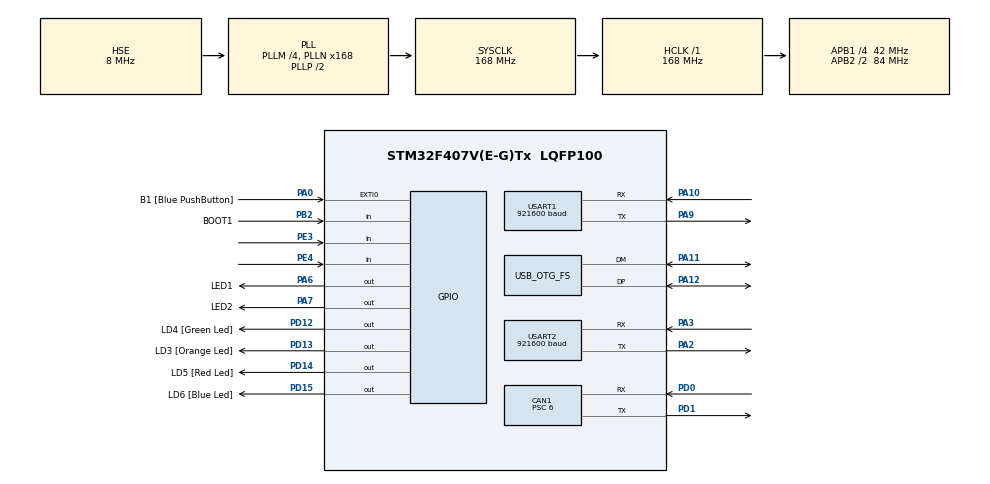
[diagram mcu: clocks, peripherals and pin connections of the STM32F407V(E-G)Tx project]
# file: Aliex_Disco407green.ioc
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CAN1.BS1=CAN_BS1_11TQ
CAN1.BS2=CAN_BS2_2TQ
CAN1.CalculateBaudRate=500000
CAN1.CalculateTimeBit=2000
CAN1.CalculateTimeQuantum=142.85714285714286
CAN1.Prescaler=6
Dma.Request0=USART1_RX
Dma.Request1=USART1_TX
Dma.Request2=USART2_TX
Dma.Request3=USART2_RX
Dma.USART1_RX.0.Direction=DMA_PERIPH_TO_MEMORY
Dma.USART1_RX.0.FIFOMode=DMA_FIFOMODE_DISABLE
Dma.USART1_RX.0.Instance=DMA2_Stream2
Dma.USART1_RX.0.MemDataAlignment=DMA_MDATAALIGN_BYTE
Dma.USART1_RX.0.MemInc=DMA_MINC_ENABLE
Dma.USART1_RX.0.Mode=DMA_NORMAL
Dma.USART1_RX.0.PeriphDataAlignment=DMA_PDATAALIGN_BYTE
Dma.USART1_RX.0.PeriphInc=DMA_PINC_DISABLE
Dma.USART1_RX.0.Priority=DMA_PRIORITY_LOW
Dma.USART1_TX.1.Direction=DMA_MEMORY_TO_PERIPH
Dma.USART1_TX.1.FIFOMode=DMA_FIFOMODE_DISABLE
Dma.USART1_TX.1.Instance=DMA2_Stream7
Dma.USART1_TX.1.MemDataAlignment=DMA_MDATAALIGN_BYTE
Dma.USART1_TX.1.MemInc=DMA_MINC_ENABLE
Dma.USART1_TX.1.Mode=DMA_NORMAL
Dma.USART1_TX.1.PeriphDataAlignment=DMA_PDATAALIGN_BYTE
Dma.USART1_TX.1.PeriphInc=DMA_PINC_DISABLE
Dma.USART1_TX.1.Priority=DMA_PRIORITY_LOW
Dma.USART2_RX.3.Direction=DMA_PERIPH_TO_MEMORY
Dma.USART2_RX.3.FIFOMode=DMA_FIFOMODE_DISABLE
Dma.USART2_RX.3.Instance=DMA1_Stream5
Dma.USART2_RX.3.MemDataAlignment=DMA_MDATAALIGN_BYTE
Dma.USART2_RX.3.MemInc=DMA_MINC_ENABLE
Dma.USART2_RX.3.Mode=DMA_NORMAL
Dma.USART2_RX.3.PeriphDataAlignment=DMA_PDATAALIGN_BYTE
Dma.USART2_RX.3.PeriphInc=DMA_PINC_DISABLE
Dma.USART2_RX.3.Priority=DMA_PRIORITY_LOW
Dma.USART2_TX.2.Direction=DMA_MEMORY_TO_PERIPH
Dma.USART2_TX.2.FIFOMode=DMA_FIFOMODE_DISABLE
Dma.USART2_TX.2.Instance=DMA1_Stream6
Dma.USART2_TX.2.MemDataAlignment=DMA_MDATAALIGN_BYTE
Dma.USART2_TX.2.MemInc=DMA_MINC_ENABLE
Dma.USART2_TX.2.Mode=DMA_NORMAL
Dma.USART2_TX.2.PeriphDataAlignment=DMA_PDATAALIGN_BYTE
Dma.USART2_TX.2.PeriphInc=DMA_PINC_DISABLE
Dma.USART2_TX.2.Priority=DMA_PRIORITY_LOW
Mcu.Family=STM32F4
Mcu.Name=STM32F407V(E-G)Tx
Mcu.Package=LQFP100
NVIC.CAN1_RX0_IRQn=true\:0\:0\:false\:false\:true\:true\:true\:true
NVIC.CAN1_RX1_IRQn=true\:0\:0\:false\:false\:true\:true\:true\:true
NVIC.CAN1_SCE_IRQn=true\:0\:0\:false\:false\:true\:true\:true\:true
NVIC.CAN1_TX_IRQn=true\:0\:0\:false\:false\:true\:true\:true\:true
NVIC.DMA1_Stream5_IRQn=true\:0\:0\:false\:false\:true\:false\:true\:true
NVIC.DMA1_Stream6_IRQn=true\:0\:0\:false\:false\:true\:false\:true\:true
NVIC.DMA2_Stream2_IRQn=true\:0\:0\:false\:false\:true\:false\:true\:true
NVIC.DMA2_Stream7_IRQn=true\:0\:0\:false\:false\:true\:false\:true\:true
NVIC.OTG_FS_IRQn=true\:0\:0\:false\:false\:true\:false\:true\:true
NVIC.PriorityGroup=NVIC_PRIORITYGROUP_0
NVIC.TIM4_IRQn=true\:0\:0\:false\:false\:true\:true\:true\:true
NVIC.TIM8_TRG_COM_TIM14_IRQn=true\:0\:0\:false\:false\:true\:true\:true\:true
NVIC.USART1_IRQn=true\:0\:0\:false\:false\:true\:true\:true\:true
NVIC.USART2_IRQn=true\:0\:0\:false\:false\:true\:true\:true\:true
PA0-WKUP.GPIO_Label=B1 [Blue PushButton]
PA0-WKUP.GPIO_ModeDefaultEXTI=GPIO_MODE_EVT_RISING
PA0-WKUP.GPIO_PuPd=GPIO_NOPULL
PA0-WKUP.Signal=GPXTI0
PA10.Mode=Asynchronous
PA10.Signal=USART1_RX
PA11.Mode=Device_Only
PA11.Signal=USB_OTG_FS_DM
PA12.Mode=Device_Only
PA12.Signal=USB_OTG_FS_DP
PA13.GPIO_Label=SWDIO
PA13.Mode=Serial_Wire
PA13.Signal=SYS_JTMS-SWDIO
PA14.GPIO_Label=SWCLK
PA14.Mode=Serial_Wire
PA14.Signal=SYS_JTCK-SWCLK
PA2.Mode=Asynchronous
PA2.Signal=USART2_TX
PA3.Mode=Asynchronous
PA3.Signal=USART2_RX
PA6.GPIO_Label=LED1
PA6.PinState=GPIO_PIN_SET
PA6.Signal=GPIO_Output
PA7.GPIO_Label=LED2
PA7.PinState=GPIO_PIN_SET
PA7.Signal=GPIO_Output
PA9.Mode=Asynchronous
PA9.Signal=USART1_TX
PB2.GPIO_Label=BOOT1
PB2.GPIO_Mode=GPIO_MODE_INPUT
PB2.GPIO_PuPd=GPIO_NOPULL
PB2.Signal=GPIO_Input
PB3.GPIO_Label=SWO
PB3.Signal=SYS_JTDO-SWO
PB5.Signal=CAN2_RX
PC14-OSC32_IN.GPIO_Label=PC14-OSC32_IN
PC14-OSC32_IN.Mode=LSE-External-Oscillator
PC14-OSC32_IN.Signal=RCC_OSC32_IN
PC15-OSC32_OUT.GPIO_Label=PC15-OSC32_OUT
PC15-OSC32_OUT.Mode=LSE-External-Oscillator
PC15-OSC32_OUT.Signal=RCC_OSC32_OUT
PD0.Mode=CAN_Activate
PD0.Signal=CAN1_RX
PD1.Mode=CAN_Activate
PD1.Signal=CAN1_TX
PD12.GPIO_Label=LD4 [Green Led]
PD12.GPIO_PuPd=GPIO_NOPULL
PD12.GPIO_Speed=GPIO_SPEED_FREQ_LOW
PD12.Signal=GPIO_Output
PD13.GPIO_Label=LD3 [Orange Led]
PD13.GPIO_PuPd=GPIO_NOPULL
PD13.GPIO_Speed=GPIO_SPEED_FREQ_LOW
PD13.Signal=GPIO_Output
PD14.GPIO_Label=LD5 [Red Led]
PD14.GPIO_PuPd=GPIO_NOPULL
PD14.GPIO_Speed=GPIO_SPEED_FREQ_LOW
PD14.Signal=GPIO_Output
PD15.GPIO_Label=LD6 [Blue Led]
PD15.GPIO_PuPd=GPIO_NOPULL
PD15.GPIO_Speed=GPIO_SPEED_FREQ_LOW
PD15.Signal=GPIO_Output
PE3.Signal=GPIO_Input
PE4.Signal=GPIO_Input
PH0-OSC_IN.GPIO_Label=PH0-OSC_IN
PH0-OSC_IN.Mode=HSE-External-Oscillator
PH0-OSC_IN.Signal=RCC_OSC_IN
PH1-OSC_OUT.GPIO_Label=PH1-OSC_OUT
PH1-OSC_OUT.Mode=HSE-External-Oscillator
PH1-OSC_OUT.Signal=RCC_OSC_OUT
ProjectManager.HeapSize=0x800
ProjectManager.StackSize=0x800
ProjectManager.TargetToolchain=STM32CubeIDE
RCC.48MHZClocksFreq_Value=48000000
RCC.AHBFreq_Value=168000000
RCC.APB1CLKDivider=RCC_HCLK_DIV4
RCC.APB1Freq_Value=42000000
RCC.APB1TimFreq_Value=84000000
RCC.APB2CLKDivider=RCC_HCLK_DIV2
RCC.APB2Freq_Value=84000000
RCC.APB2TimFreq_Value=168000000
RCC.CortexFreq_Value=168000000
RCC.HCLKFreq_Value=168000000
RCC.HSE_VALUE=8000000
RCC.HSI_VALUE=16000000
RCC.PLLI2SN=50
RCC.PLLM=4
RCC.PLLN=168
RCC.PLLQ=7
RCC.SYSCLKFreq_VALUE=168000000
RCC.SYSCLKSource=RCC_SYSCLKSOURCE_PLLCLK
RCC.VCOOutputFreq_Value=336000000
TIM14.Period=999
TIM14.Prescaler=167
TIM4.Period=999
TIM4.Prescaler=167
TIM4.TIM_MasterOutputTrigger=TIM_TRGO_UPDATE
USART1.BaudRate=921600
USART1.StopBits=STOPBITS_2
USART1.VirtualMode=VM_ASYNC
USART2.BaudRate=921600
USART2.StopBits=STOPBITS_2
USART2.VirtualMode=VM_ASYNC
USB_DEVICE.APP_RX_DATA_SIZE-CDC_FS=2048
USB_DEVICE.CLASS_NAME_FS=CDC
USB_DEVICE.VirtualMode-CDC_FS=Cdc
USB_DEVICE.VirtualModeFS=Cdc_FS
USB_OTG_FS.VirtualMode=Device_Only
VP_TIM14_VS_ClockSourceINT.Mode=Enable_Timer
VP_TIM4_VS_ClockSourceINT.Mode=Internal
VP_USB_DEVICE_VS_USB_DEVICE_CDC_FS.Mode=CDC_FS
board=STM32F407G-DISC1

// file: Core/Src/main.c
/* USER CODE BEGIN Header */
/**
  ******************************************************************************
  * @file           : main.c
  * @brief          : Main program body
  ******************************************************************************
  * @attention
  *
  * Copyright (c) 2024 STMicroelectronics.
  * All rights reserved.
  *
  * This software is licensed under terms that can be found in the LICENSE file
  * in the root directory of this software component.
  * If no LICENSE file comes with this software, it is provided AS-IS.
  *
  *
  *			LOWER__PCBmodul__STM32_F4VE_V2.0-2
  *
  *			NodeID = 072
  *
  *
  ******************************************************************************
  */
/* USER CODE END Header */
#include "main.h"
#include "usb_device.h"

/* USER CODE BEGIN Includes */
#include "CO_app_STM32.h"
#include "301/CO_SDOclient.h"
#include "CANopen.h"
#include "OD.h"
/* USER CODE END Includes */

/* USER CODE BEGIN PD */
#define TerminalInterface	huart1
/* USER CODE END PD */

CAN_HandleTypeDef hcan1;

TIM_HandleTypeDef htim4;
TIM_HandleTypeDef htim14;

UART_HandleTypeDef huart1;
UART_HandleTypeDef huart2;
DMA_HandleTypeDef hdma_usart1_rx;
DMA_HandleTypeDef hdma_usart1_tx;
DMA_HandleTypeDef hdma_usart2_tx;
DMA_HandleTypeDef hdma_usart2_rx;

/* USER CODE BEGIN PV */
uint8_t Tx_Array[16]={0x5a,0x6b,0x7c,0x86,0x5f,0x43,0x8e,0x58,0x69,0x70,0x81,0x92,0xf3,0xc4,0xc5,0xc3};
uint8_t Rx_Array[16]={0};
uint32_t Array_32u[16]={0};
uint8_t Array_8u[16]={0x54,0x34,0x21,0xea,0xf3,0x7a,0xd4,0x46};
uint8_t Length_of_Ext_Var=0;
uint8_t Local_Count=0;

CAN_TxHeaderTypeDef Tx_Header;
uint32_t            TxMailbox;
uint32_t            tmp32u_1   = 0x1e1f1a1b;
uint32_t            tmp32u_0   = 0x0e0f0a0b;
uint64_t            tmp64u_0   = 0x0e1f1a1b56789a;
uint64_t            tmp64u_1   = 0x0e1f1a1b56789a;
uint32_t            Ticks;
char String_L[]={"String_for_Test_UART_"};
/* USER CODE END PV */

void SystemClock_Config(void);
static void MX_GPIO_Init(void);
static void MX_DMA_Init(void);
static void MX_TIM14_Init(void);
static void MX_CAN1_Init(void);
static void MX_USART1_UART_Init(void);
static void MX_USART2_UART_Init(void);
static void MX_TIM4_Init(void);
/* USER CODE BEGIN PFP */
void CAN_interface_Test(void);
void UART_interface_Test(void);
void GPIO_Blink_Test(GPIO_TypeDef* GPIOx, uint16_t GPIO_Pin, uint8_t Count_of_Blink, uint16_t Period_of_blink_ms);

CO_SDO_abortCode_t	read_SDO	(
								  CO_SDOclient_t* SDO_C,
								  uint8_t nodeId,
								  uint16_t index,
								  uint8_t subIndex,
								  uint8_t* buf,
								  size_t bufSize,
								  size_t* readSize
								  );

CO_SDO_abortCode_t	write_SDO 	(
								CO_SDOclient_t* SDO_C,
								uint8_t nodeId,
								uint16_t index,
								uint8_t subIndex,
								uint8_t* data,
								size_t dataSize
								);

/* USER CODE END PFP */

/* USER CODE BEGIN 0 */
/* Timer interrupt function executes every 1 ms */
void
HAL_TIM_PeriodElapsedCallback(TIM_HandleTypeDef* htim) {
    if (htim == canopenNodeSTM32->timerHandle) {
        canopen_app_interrupt();

    }
}

/* USER CODE END 0 */

int main(void)
{

  /* MCU Configuration--------------------------------------------------------*/

  /* Reset of all peripherals, Initializes the Flash interface and the Systick. */
  HAL_Init();

  /* Configure the system clock */
  SystemClock_Config();

  /* Initialize all configured peripherals */
  MX_GPIO_Init();
  MX_DMA_Init();
  MX_TIM14_Init();
  MX_CAN1_Init();
  MX_USART1_UART_Init();
  MX_USB_DEVICE_Init();
  MX_USART2_UART_Init();
  MX_TIM4_Init();
  /* USER CODE BEGIN 2 */
  /* CANHandle : Pass in the CAN Handle to this function and it wil be used for all CAN Communications. It can be FDCan or CAN
   * and CANOpenSTM32 Driver will take of care of handling that
   * HWInitFunction : Pass in the function that initialize the CAN peripheral, usually MX_CAN_Init
   * timerHandle : Pass in the timer that is going to be used for generating 1ms interrupt for tmrThread function,
   * please note that CANOpenSTM32 Library will override HAL_TIM_PeriodElapsedCallback function, if you also need this function
   * in your codes, please take required steps
   * desiredNodeID : This is the Node ID that you ask the CANOpen stack to assign to your device, although it might not always
   * be the final NodeID, after calling canopen_app_init() you should check ActiveNodeID of CANopenNodeSTM32 structure for assigned Node ID.
   * baudrate: This is the baudrate you've set in your CubeMX Configuration
   *
   */

//   UART_interface_Test();
//  CAN_interface_Test();

  GPIO_Blink_Test(GPIOA, GPIO_PIN_7, 25, 33);

   HAL_TIM_Base_Start_IT(&htim4);

   CANopenNodeSTM32 canOpenNodeSTM32;
   canOpenNodeSTM32.CANHandle = &hcan1;
   canOpenNodeSTM32.HWInitFunction = MX_CAN1_Init;
   canOpenNodeSTM32.timerHandle = &htim4;
   canOpenNodeSTM32.desiredNodeID = 0x3A;
   canOpenNodeSTM32.baudrate = 125*4;
   canopen_app_init(&canOpenNodeSTM32);

  /* USER CODE END 2 */

  /* Infinite loop */
  /* USER CODE BEGIN WHILE */

   canopen_app_process();

	  read_SDO (
			    canOpenNodeSTM32.canOpenStack->SDOclient,
				0x3b,										//remote desiredNodeID Disco407_Blue
				0x600E,										//Index_of_OD_variable_at_remote_NodeID Disco_Blue_VAR64_600e_TX
				0,											//Sub_Index_of_OD_variable
				Rx_Array,									//Saved_Received_Data
				4,											//Number_of_Byte_to_read
				(size_t*)&Length_of_Ext_Var );

	  HAL_Delay(100);

	  	TerminalInterface.gState = HAL_UART_STATE_READY;
		HAL_UART_Transmit_DMA( &TerminalInterface, (uint8_t*)Rx_Array, 8);

	  write_SDO(
			    canOpenNodeSTM32.canOpenStack->SDOclient,
				0x3b,										//remote desiredNodeID Disco407_Blue
				0x600E,										//Index_of_OD_variable_at_remote_NodeID Disco_Blue_VAR64_600e_TX
				0,											//Sub_Index_of_OD_variable
				Array_8u,									//
				4);

	  HAL_Delay(100);

	  read_SDO (
			    canOpenNodeSTM32.canOpenStack->SDOclient,
				0x3b,										//remote desiredNodeID Disco407_Blue
				0x600E,										//Index_of_OD_variable_at_remote_NodeID Disco_Blue_VAR64_600e_TX
				0,											//Sub_Index_of_OD_variable
				Rx_Array,									//Saved_Received_Data
				4,											//Number_of_Byte_to_read
				(size_t*)&Length_of_Ext_Var );

	  HAL_Delay(100);

	  TerminalInterface.gState = HAL_UART_STATE_READY;
	  HAL_UART_Transmit_DMA( &TerminalInterface, (uint8_t*)Rx_Array, 8);
      HAL_Delay(100);

		Local_Count=0;
		  OD_PERSIST_COMM.x6000_ALiex_Disco_VAR32_6000=0;

		  while (1)
		  {
			 // HAL_GPIO_WritePin(GPIOA, GPIO_PIN_6, !canOpenNodeSTM32.outStatusLEDGreen);
			  HAL_GPIO_WritePin(GPIOD, GPIO_PIN_12, !canOpenNodeSTM32.outStatusLEDGreen);
			 // HAL_GPIO_WritePin(GPIOA, GPIO_PIN_7, !canOpenNodeSTM32.outStatusLEDRed  );//yellow
			  HAL_GPIO_WritePin(GPIOD, GPIO_PIN_14, !canOpenNodeSTM32.outStatusLEDRed  );
//		         HAL_GPIO_TogglePin(GPIOA, GPIO_PIN_6 );//LED1_Pin___//LED1_GPIO_Port//green

			canopen_app_process();

//			if(tmp32u_1 != OD_PERSIST_COMM.x6001_nucleo_VAR32_6001)
//				{
//				tmp32u_1 = OD_PERSIST_COMM.x6001_nucleo_VAR32_6001;
//				TerminalInterface.gState = HAL_UART_STATE_READY;
//				HAL_UART_Transmit_DMA( &TerminalInterface, (uint8_t*)(&tmp32u_1), 4);
//				}

			  if(HAL_GetTick() - Ticks>749)
			  {
				Ticks = HAL_GetTick();

				OD_PERSIST_COMM.x6000_ALiex_Disco_VAR32_6000++;

				tmp32u_0 = OD_PERSIST_COMM.x6000_ALiex_Disco_VAR32_6000;

				//CO_TPDOsendRequest(&canOpenNodeSTM32.canOpenStack->TPDO[0] );

				TerminalInterface.gState = HAL_UART_STATE_READY;
				HAL_UART_Transmit_DMA( &TerminalInterface, (uint8_t*)( &tmp32u_0 ), 4);

				Local_Count++;
				Local_Count = Local_Count%4;

				if(Local_Count==0){
									OD_PERSIST_COMM.x6039_ALiex_Disco_Array[0]++;
								  }

				CO_TPDOsendRequest(&canOpenNodeSTM32.canOpenStack->TPDO[Local_Count] );
			  }

    /* USER CODE END WHILE */

  }
}

void SystemClock_Config(void)
{
  RCC_OscInitTypeDef RCC_OscInitStruct = {0};
  RCC_ClkInitTypeDef RCC_ClkInitStruct = {0};

  /** Configure the main internal regulator output voltage
  */
  __HAL_RCC_PWR_CLK_ENABLE();
  __HAL_PWR_VOLTAGESCALING_CONFIG(PWR_REGULATOR_VOLTAGE_SCALE1);

  /** Initializes the RCC Oscillators according to the specified parameters
  * in the RCC_OscInitTypeDef structure.
  */
  RCC_OscInitStruct.OscillatorType = RCC_OSCILLATORTYPE_HSE;
  RCC_OscInitStruct.HSEState = RCC_HSE_ON;
  RCC_OscInitStruct.PLL.PLLState = RCC_PLL_ON;
  RCC_OscInitStruct.PLL.PLLSource = RCC_PLLSOURCE_HSE;
  RCC_OscInitStruct.PLL.PLLM = 4;
  RCC_OscInitStruct.PLL.PLLN = 168;
  RCC_OscInitStruct.PLL.PLLP = RCC_PLLP_DIV2;
  RCC_OscInitStruct.PLL.PLLQ = 7;
  if (HAL_RCC_OscConfig(&RCC_OscInitStruct) != HAL_OK)
  {
    Error_Handler();
  }

  /** Initializes the CPU, AHB and APB buses clocks
  */
  RCC_ClkInitStruct.ClockType = RCC_CLOCKTYPE_HCLK|RCC_CLOCKTYPE_SYSCLK
                              |RCC_CLOCKTYPE_PCLK1|RCC_CLOCKTYPE_PCLK2;
  RCC_ClkInitStruct.SYSCLKSource = RCC_SYSCLKSOURCE_PLLCLK;
  RCC_ClkInitStruct.AHBCLKDivider = RCC_SYSCLK_DIV1;
  RCC_ClkInitStruct.APB1CLKDivider = RCC_HCLK_DIV4;
  RCC_ClkInitStruct.APB2CLKDivider = RCC_HCLK_DIV2;

  if (HAL_RCC_ClockConfig(&RCC_ClkInitStruct, FLASH_LATENCY_5) != HAL_OK)
  {
    Error_Handler();
  }
}

static void MX_CAN1_Init(void)
{

  hcan1.Instance = CAN1;
  hcan1.Init.Prescaler = 6;
  hcan1.Init.Mode = CAN_MODE_NORMAL;
  hcan1.Init.SyncJumpWidth = CAN_SJW_1TQ;
  hcan1.Init.TimeSeg1 = CAN_BS1_11TQ;
  hcan1.Init.TimeSeg2 = CAN_BS2_2TQ;
  hcan1.Init.TimeTriggeredMode = DISABLE;
  hcan1.Init.AutoBusOff = DISABLE;
  hcan1.Init.AutoWakeUp = DISABLE;
  hcan1.Init.AutoRetransmission = DISABLE;
  hcan1.Init.ReceiveFifoLocked = DISABLE;
  hcan1.Init.TransmitFifoPriority = DISABLE;
  if (HAL_CAN_Init(&hcan1) != HAL_OK)
  {
    Error_Handler();
  }

}

static void MX_TIM4_Init(void)
{

  TIM_ClockConfigTypeDef sClockSourceConfig = {0};
  TIM_MasterConfigTypeDef sMasterConfig = {0};

  htim4.Instance = TIM4;
  htim4.Init.Prescaler = 167;
  htim4.Init.CounterMode = TIM_COUNTERMODE_UP;
  htim4.Init.Period = 999;
  htim4.Init.ClockDivision = TIM_CLOCKDIVISION_DIV1;
  htim4.Init.AutoReloadPreload = TIM_AUTORELOAD_PRELOAD_DISABLE;
  if (HAL_TIM_Base_Init(&htim4) != HAL_OK)
  {
    Error_Handler();
  }
  sClockSourceConfig.ClockSource = TIM_CLOCKSOURCE_INTERNAL;
  if (HAL_TIM_ConfigClockSource(&htim4, &sClockSourceConfig) != HAL_OK)
  {
    Error_Handler();
  }
  sMasterConfig.MasterOutputTrigger = TIM_TRGO_UPDATE;
  sMasterConfig.MasterSlaveMode = TIM_MASTERSLAVEMODE_DISABLE;
  if (HAL_TIMEx_MasterConfigSynchronization(&htim4, &sMasterConfig) != HAL_OK)
  {
    Error_Handler();
  }

}

static void MX_TIM14_Init(void)
{

  htim14.Instance = TIM14;
  htim14.Init.Prescaler = 167;
  htim14.Init.CounterMode = TIM_COUNTERMODE_UP;
  htim14.Init.Period = 999;
  htim14.Init.ClockDivision = TIM_CLOCKDIVISION_DIV1;
  htim14.Init.AutoReloadPreload = TIM_AUTORELOAD_PRELOAD_DISABLE;
  if (HAL_TIM_Base_Init(&htim14) != HAL_OK)
  {
    Error_Handler();
  }

}

static void MX_USART1_UART_Init(void)
{

  huart1.Instance = USART1;
  huart1.Init.BaudRate = 921600;
  huart1.Init.WordLength = UART_WORDLENGTH_8B;
  huart1.Init.StopBits = UART_STOPBITS_2;
  huart1.Init.Parity = UART_PARITY_NONE;
  huart1.Init.Mode = UART_MODE_TX_RX;
  huart1.Init.HwFlowCtl = UART_HWCONTROL_NONE;
  huart1.Init.OverSampling = UART_OVERSAMPLING_16;
  if (HAL_UART_Init(&huart1) != HAL_OK)
  {
    Error_Handler();
  }

}

static void MX_USART2_UART_Init(void)
{

  huart2.Instance = USART2;
  huart2.Init.BaudRate = 921600;
  huart2.Init.WordLength = UART_WORDLENGTH_8B;
  huart2.Init.StopBits = UART_STOPBITS_2;
  huart2.Init.Parity = UART_PARITY_NONE;
  huart2.Init.Mode = UART_MODE_TX_RX;
  huart2.Init.HwFlowCtl = UART_HWCONTROL_NONE;
  huart2.Init.OverSampling = UART_OVERSAMPLING_16;
  if (HAL_UART_Init(&huart2) != HAL_OK)
  {
    Error_Handler();
  }

}

static void MX_DMA_Init(void)
{

  /* DMA controller clock enable */
  __HAL_RCC_DMA2_CLK_ENABLE();
  __HAL_RCC_DMA1_CLK_ENABLE();

  /* DMA interrupt init */
  /* DMA1_Stream5_IRQn interrupt configuration */
  HAL_NVIC_SetPriority(DMA1_Stream5_IRQn, 0, 0);
  HAL_NVIC_EnableIRQ(DMA1_Stream5_IRQn);
  /* DMA1_Stream6_IRQn interrupt configuration */
  HAL_NVIC_SetPriority(DMA1_Stream6_IRQn, 0, 0);
  HAL_NVIC_EnableIRQ(DMA1_Stream6_IRQn);
  /* DMA2_Stream2_IRQn interrupt configuration */
  HAL_NVIC_SetPriority(DMA2_Stream2_IRQn, 0, 0);
  HAL_NVIC_EnableIRQ(DMA2_Stream2_IRQn);
  /* DMA2_Stream7_IRQn interrupt configuration */
  HAL_NVIC_SetPriority(DMA2_Stream7_IRQn, 0, 0);
  HAL_NVIC_EnableIRQ(DMA2_Stream7_IRQn);

}

static void MX_GPIO_Init(void)
{
  GPIO_InitTypeDef GPIO_InitStruct = {0};

  /* GPIO Ports Clock Enable */
  __HAL_RCC_GPIOE_CLK_ENABLE();
  __HAL_RCC_GPIOC_CLK_ENABLE();
  __HAL_RCC_GPIOH_CLK_ENABLE();
  __HAL_RCC_GPIOA_CLK_ENABLE();
  __HAL_RCC_GPIOB_CLK_ENABLE();
  __HAL_RCC_GPIOD_CLK_ENABLE();

  /*Configure GPIO pin Output Level */
  HAL_GPIO_WritePin(GPIOA, LED1_Pin|LED2_Pin, GPIO_PIN_SET);

  /*Configure GPIO pin Output Level */
  HAL_GPIO_WritePin(GPIOD, LD4_Pin|LD3_Pin|LD5_Pin|LD6_Pin, GPIO_PIN_RESET);

  /*Configure GPIO pins : PE3 PE4 */
  GPIO_InitStruct.Pin = GPIO_PIN_3|GPIO_PIN_4;
  GPIO_InitStruct.Mode = GPIO_MODE_INPUT;
  GPIO_InitStruct.Pull = GPIO_NOPULL;
  HAL_GPIO_Init(GPIOE, &GPIO_InitStruct);

  /*Configure GPIO pin : B1_Pin */
  GPIO_InitStruct.Pin = B1_Pin;
  GPIO_InitStruct.Mode = GPIO_MODE_EVT_RISING;
  GPIO_InitStruct.Pull = GPIO_NOPULL;
  HAL_GPIO_Init(B1_GPIO_Port, &GPIO_InitStruct);

  /*Configure GPIO pins : LED1_Pin LED2_Pin */
  GPIO_InitStruct.Pin = LED1_Pin|LED2_Pin;
  GPIO_InitStruct.Mode = GPIO_MODE_OUTPUT_PP;
  GPIO_InitStruct.Pull = GPIO_NOPULL;
  GPIO_InitStruct.Speed = GPIO_SPEED_FREQ_LOW;
  HAL_GPIO_Init(GPIOA, &GPIO_InitStruct);

  /*Configure GPIO pin : BOOT1_Pin */
  GPIO_InitStruct.Pin = BOOT1_Pin;
  GPIO_InitStruct.Mode = GPIO_MODE_INPUT;
  GPIO_InitStruct.Pull = GPIO_NOPULL;
  HAL_GPIO_Init(BOOT1_GPIO_Port, &GPIO_InitStruct);

  /*Configure GPIO pins : LD4_Pin LD3_Pin LD5_Pin LD6_Pin */
  GPIO_InitStruct.Pin = LD4_Pin|LD3_Pin|LD5_Pin|LD6_Pin;
  GPIO_InitStruct.Mode = GPIO_MODE_OUTPUT_PP;
  GPIO_InitStruct.Pull = GPIO_NOPULL;
  GPIO_InitStruct.Speed = GPIO_SPEED_FREQ_LOW;
  HAL_GPIO_Init(GPIOD, &GPIO_InitStruct);

  /*Configure GPIO pin : PB5 */
  GPIO_InitStruct.Pin = GPIO_PIN_5;
  GPIO_InitStruct.Mode = GPIO_MODE_AF_PP;
  GPIO_InitStruct.Pull = GPIO_NOPULL;
  GPIO_InitStruct.Speed = GPIO_SPEED_FREQ_VERY_HIGH;
  GPIO_InitStruct.Alternate = GPIO_AF9_CAN2;
  HAL_GPIO_Init(GPIOB, &GPIO_InitStruct);

}

/* USER CODE BEGIN 4 */

//////////////////////////////////////////////////////////////////////////////////////////////////////////////

CO_SDO_abortCode_t
read_SDO (
		  CO_SDOclient_t* SDO_C,
		  uint8_t nodeId,
		  uint16_t index,
		  uint8_t subIndex,
		  uint8_t* buf,
		  size_t bufSize,
		  size_t* readSize
		  )
{
    CO_SDO_return_t SDO_ret;

    // setup client (this can be skipped, if remote device don't change)
    SDO_ret = CO_SDOclient_setup (
    								SDO_C, CO_CAN_ID_SDO_CLI + nodeId,
									CO_CAN_ID_SDO_SRV + nodeId,
									nodeId);

    if (SDO_ret != CO_SDO_RT_ok_communicationEnd) { return CO_SDO_AB_GENERAL; }

    // initiate upload
    SDO_ret = CO_SDOclientUploadInitiate ( SDO_C,
    										index,
											subIndex,
											1000,
											false);

    if (SDO_ret != CO_SDO_RT_ok_communicationEnd) { return CO_SDO_AB_GENERAL; }

    // upload data
    do 	{
        uint32_t timeDifference_us = 10000;
        CO_SDO_abortCode_t abortCode = CO_SDO_AB_NONE;

        SDO_ret = CO_SDOclientUpload(SDO_C, timeDifference_us, false, &abortCode, NULL, NULL, NULL);

        if (SDO_ret < 0) {  return abortCode;  }

        HAL_Delay(timeDifference_us/1000);// sleep_us(timeDifference_us);

    	} while (SDO_ret > 0);

    // copy data to the user buffer (for long data function must be called several times inside the loop)
    *readSize = CO_SDOclientUploadBufRead(SDO_C, buf, bufSize);

    return CO_SDO_AB_NONE;
}

//////////////////////////////////////////////////////////////////////////////////////////////////////////////

CO_SDO_abortCode_t
write_SDO (
			CO_SDOclient_t* SDO_C,
			uint8_t nodeId,
			uint16_t index,
			uint8_t subIndex,
			uint8_t* data,
			size_t dataSize
			)
{
    CO_SDO_return_t SDO_ret;
    bool_t bufferPartial = false;

    // setup client (this can be skipped, if remote device is the same)
    SDO_ret = CO_SDOclient_setup (	SDO_C,
    								CO_CAN_ID_SDO_CLI + nodeId,
									CO_CAN_ID_SDO_SRV + nodeId,
									nodeId);

    if (SDO_ret != CO_SDO_RT_ok_communicationEnd) { return -1; }

    // initiate download
    SDO_ret = CO_SDOclientDownloadInitiate(SDO_C, index, subIndex, dataSize, 1000, false);

    if (SDO_ret != CO_SDO_RT_ok_communicationEnd) /**< Success, end of communication. SDO client: uploaded data must be read. */
    	{ return -1; }

    // fill data
    size_t nWritten = CO_SDOclientDownloadBufWrite(SDO_C, data, dataSize);

    if (nWritten < dataSize) { bufferPartial = true; } // If SDO Fifo buffer is too small, data can be refilled in the loop.

    // download data
    do {
        uint32_t timeDifference_us = 10000;
        CO_SDO_abortCode_t abortCode = CO_SDO_AB_NONE;

        SDO_ret = CO_SDOclientDownload (	SDO_C,
        									timeDifference_us,
											false, bufferPartial,
											&abortCode,
											NULL,
											NULL
										);

        if (SDO_ret < 0) {  return abortCode;}

        HAL_Delay(timeDifference_us/1000); //sleep_us(timeDifference_us);

       } while (SDO_ret > 0);

    return CO_SDO_AB_NONE;
}

//////////////////////////////////////////////////////////
void CAN_interface_Test(void)
{

 Tx_Header.IDE    = CAN_ID_STD;
 Tx_Header.ExtId  = 0;
 Tx_Header.DLC    = 8;
 Tx_Header.StdId  = 0x7EC;
 Tx_Header.RTR    = CAN_RTR_DATA;
 HAL_CAN_Start(&hcan1);  HAL_Delay(1500);

 if(HAL_CAN_AddTxMessage( &hcan1,
   		               &Tx_Header,
							Tx_Array, &TxMailbox )==HAL_OK
 	 )
	  {  /* Wait transmission complete */
	  //while(HAL_CAN_GetTxMailboxesFreeLevel(&hcan1) != 3) {}
		  for(uint8_t cnt=0;cnt<22;cnt++)
		  {
		   HAL_GPIO_TogglePin(LED2_GPIO_Port, LED2_Pin);//LED2_Pin//yellow
		   HAL_Delay(46);
		  }
	  }
}

///////////////////////////////////////////////////
void UART_interface_Test(void)
{
	  HAL_Delay(500);
	  Local_Count = sizeof String_L;
	  String_L[Local_Count-1] = 0x0d;
	  HAL_UART_Transmit_DMA( &TerminalInterface, (uint8_t*)(String_L), Local_Count);
	  while (1){}
}
//////////////////////////////////////////////

void GPIO_Blink_Test(GPIO_TypeDef* GPIOx, uint16_t GPIO_Pin, uint8_t Count_of_Blink, uint16_t Period_of_blink_ms)
{
	  for(uint8_t cnt=0;cnt<Count_of_Blink;cnt++)
	  {
		  	HAL_GPIO_TogglePin(GPIOx, GPIO_Pin );//LED2_Pin___//LED2_GPIO_Port//yellow
		  	//HAL_GPIO_TogglePin(GPIOA, GPIO_PIN_6 );//LED1_Pin___//LED1_GPIO_Port//green
	  HAL_Delay(Period_of_blink_ms);
	  }
}

/* USER CODE END 4 */

void Error_Handler(void)
{
  __disable_irq();
  while (1)
  {
  }
}
